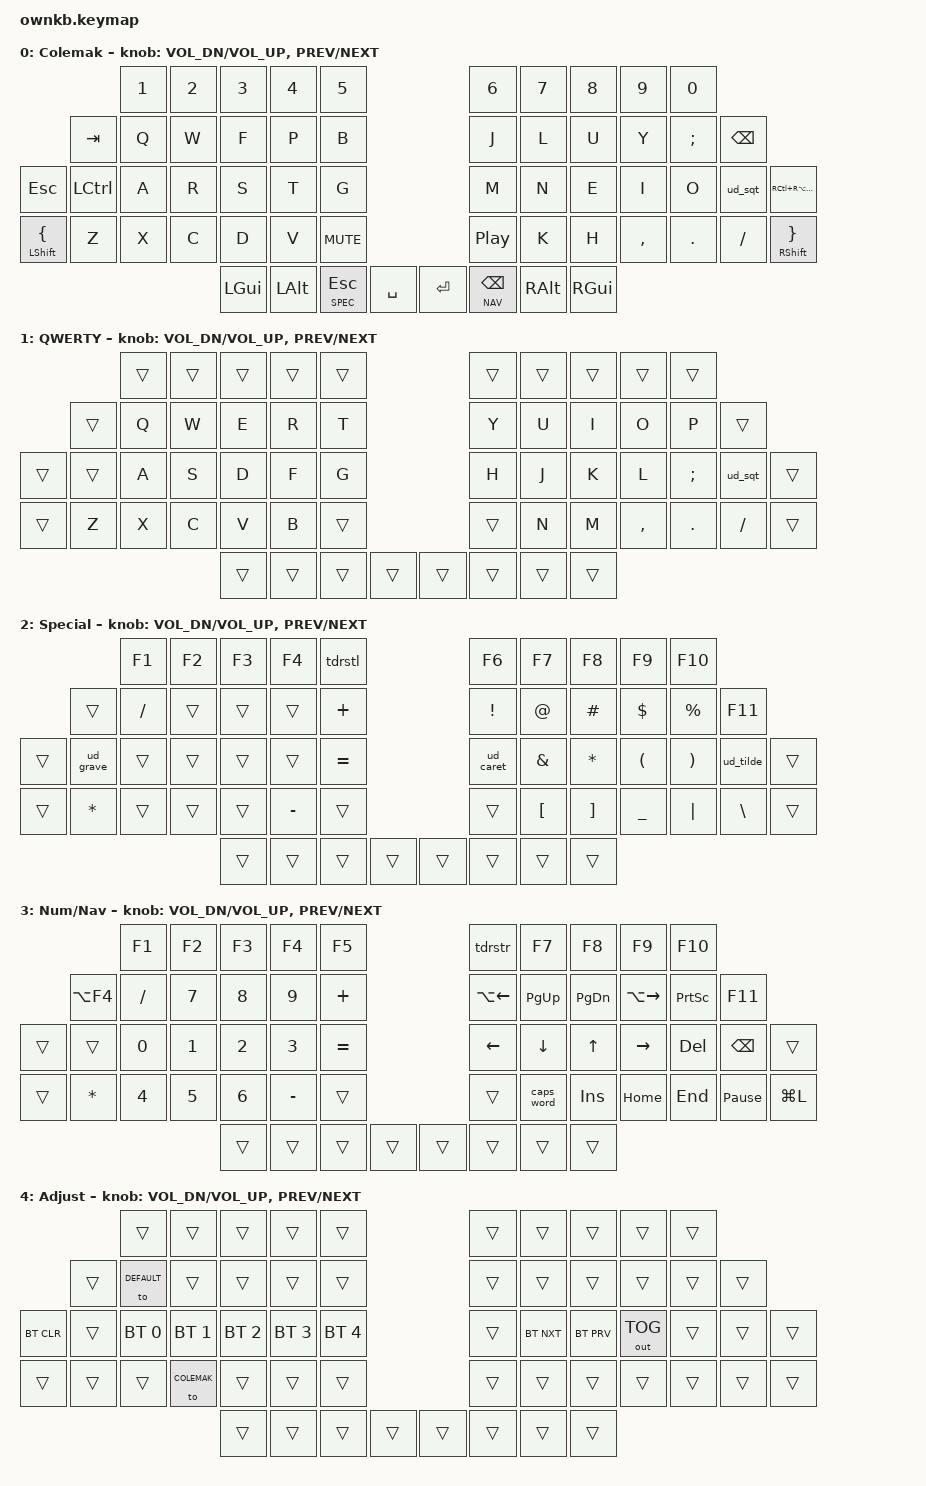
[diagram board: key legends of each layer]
#include <behaviors.dtsi>
#include <dt-bindings/zmk/keys.h>
#include <dt-bindings/zmk/bt.h>
#include <dt-bindings/zmk/outputs.h>

#define COLEMAK 0
#define DEFAULT 1
#define SPEC   2
#define NAV   3
#define ADJUST 4

// tapdance timing
#define TAPTERM 100

// additional caps word keys
&caps_word {
    continue-list = <UNDERSCORE MINUS LS(MINUS) UP DOWN LEFT RIGHT BSPC DEL>;
};

// faster layertap
&lt {
    quick-tap-ms = <0>;
    tapping-term-ms = <150>; 
};

// faster modtap
&mt {
    tapping-term-ms = <200>;
}; 

/ {

    // adjust layer when both navigation keys are pressed 
    conditional_layers {
        compatible = "zmk,conditional-layers";
        tri_layer {
            if-layers = <SPEC NAV>;
            then-layer = <ADJUST>; 
        };
    };
    behaviors {
        // F5 / double tap reset 
        tdrstl: tdrstl {
            compatible = "zmk,behavior-tap-dance";
            label = "tdrstl";
            #binding-cells = <0>;
            tapping-term-ms = <TAPTERM>;
            bindings = <&kp F5>, <&sys_reset>;
        };

        // F6 / double tap reset
        tdrstr: tdrstr {
            compatible = "zmk,behavior-tap-dance";
            label = "tdrstr";
            #binding-cells = <0>;
            tapping-term-ms = <TAPTERM>;
            bindings = <&kp F6>, <&sys_reset>;
        };
    };

    macros {
        // undead `
        ud_grave: ud_grave {
            label = "UNDEAD_GRAVE";
            compatible = "zmk,behavior-macro";
            #binding-cells = <0>;
            wait-ms = <10>;
            tap-ms = <10>;
            bindings = <&kp GRAVE &kp SPACE>;
        };

        // undead ~
        ud_tilde: ud_tilde {
            label = "UNDEAD_TILDE";
            compatible = "zmk,behavior-macro";
            #binding-cells = <0>;
            wait-ms = <10>;
            tap-ms = <10>;
            bindings = <&kp TILDE &kp SPACE>;
        };

        // undead ^
        ud_caret: ud_caret {
            label = "UNDEAD_CARET";
            compatible = "zmk,behavior-macro";
            #binding-cells = <0>;
            wait-ms = <10>;
            tap-ms = <10>;
            bindings = <&kp CARET &kp SPACE>;
        };

        // undead "
        ud_sqt: ud_sqt {
            label = "UNDEAD_SINGLE_QUOTE";
            compatible = "zmk,behavior-macro";
            #binding-cells = <0>;
            wait-ms = <10>;
            tap-ms = <10>;
            bindings = <&kp SQT &kp SPACE>;
        };
    };

    keymap {
        compatible = "zmk,keymap";

        colemak_layer {
            label = "Colemak";

bindings = <
//                     ___________________________________________________                   ___________________________________________________
//                     | 1       | 2       | 3       | 4       | 5       |                   | 6       | 7       | 8       | 9       | 0       |
                         &kp N1    &kp N2    &kp N3    &kp N4    &kp N5                        &kp N6    &kp N7    &kp N8    &kp N9    &kp N0
//           _____________________________________________________________                   _____________________________________________________________
//           | TAB     | Q       | W       | F       | P       | B       |                   | J       | L       | U       | Y       | ;       | TAB     |
               &kp TAB   &kp Q     &kp W     &kp F     &kp P     &kp B                         &kp J     &kp L     &kp U     &kp Y     &kp SEMI  &kp BSPC
// _______________________________________________________________________                   _______________________________________________________________________
// | ESC     | CTRL    | A       | R       | S       | T       | G       |                   | M       | N       | E       | I       | O       | '       | F13     |
     &kp ESC   &kp LCTRL &kp A     &kp R     &kp S     &kp T     &kp G                         &kp M     &kp N     &kp E     &kp I     &kp O     &ud_sqt   &kp RC(RA(F13))
//           _____________________________________________________________________________________________________________________________________________
//           | SHIFT   | Z       | X       | C       | D       | V       | MUTE    |PLAY/PAUS| K       | H       | ,       | .       | /       | SHIFT   |
          &mt LSHFT LBRC &kp Z     &kp X     &kp C     &kp D     &kp V  &kp C_MUTE &kp C_PP    &kp K     &kp H     &kp COMMA &kp DOT    &kp SLASH &mt RSHFT RBRC
//                                         _________________________________________________________________________________
//                                         | WIN     | ALT     | X/FSC   | SPACE   | ENTER   | x/BSPC  | ALT     | WIN     |
                                          &kp LGUI  &kp LALT  &lt SPEC ESC &kp SPACE &kp ENTER &lt NAV BSPC &kp RALT &kp RGUI
            >;

            sensor-bindings = <&inc_dec_kp C_VOL_DN C_VOL_UP &inc_dec_kp C_PREV C_NEXT>;
        };

        qwerty_layer {
            label = "QWERTY";

bindings = <
//                     ___________________________________________________                   ___________________________________________________
//                     |         |         |         |         |         |                   |         |         |         |         |         |
                         &trans    &trans    &trans    &trans    &trans                        &trans    &trans    &trans    &trans    &trans
//           _____________________________________________________________                   _____________________________________________________________
//           |         | Q       | W       | E       | R       | T       |                   | Y       | U       | I       | O       | P       |          |
               &trans    &kp Q     &kp W     &kp E     &kp R     &kp T                         &kp Y     &kp U     &kp I     &kp O     &kp P     &trans
// _______________________________________________________________________                   _______________________________________________________________________
// |         |         | A       | S       | D       | F       | G       |                   | H       | J       | K       | L       | ;       | '       |         |
     &trans    &trans    &kp A     &kp S     &kp D     &kp F     &kp G                         &kp H     &kp J     &kp K     &kp L     &kp SEMI  &ud_sqt   &trans
//           _____________________________________________________________________________________________________________________________________________
//           |         | Z       | X       | C       | V       | B       |         |         | N       | M       | ,       | .       | /       |         |
               &trans    &kp Z     &kp X     &kp C     &kp V     &kp B     &trans    &trans    &kp N     &kp M     &kp COMMA &kp DOT    &kp SLASH &trans
//                                         _________________________________________________________________________________
//                                         |         |         |         |         |         |         |         |         |
                                             &trans    &trans    &trans    &trans    &trans    &trans    &trans    &trans
            >;

            sensor-bindings = <&inc_dec_kp C_VOL_DN C_VOL_UP &inc_dec_kp C_PREV C_NEXT>;
        };

        special_layer {
            label = "Special";

bindings = <
//                     ___________________________________________________                   ___________________________________________________
//                     | T1      | F2      | F3      | F4      | F5/rst  |                   | F6      | F7      | F8      | F9      | F10     |
                         &kp F1    &kp F2    &kp F3    &kp F4    &tdrstl                       &kp F6    &kp F7    &kp F8    &kp F9    &kp F10
//           _____________________________________________________________                   _____________________________________________________________
//           |         | /       |         |         |         | +       |                   | !       | @       | #       | $       | %       | F11     |
               &trans    &kp SLASH &trans    &trans    &trans    &kp PLUS                      &kp EXCL  &kp AT    &kp HASH  &kp DOLLAR &kp PRCNT &kp F11
// _______________________________________________________________________                   _______________________________________________________________________
// |         | `      |         |          |         |         | =       |                   | ^       | &       | *       | (       | )       | ~       |         |
     &trans    &ud_grave &trans   &trans     &trans    &trans    &kp EQUAL                     &ud_caret &kp AMPS  &kp STAR  &kp LPAR  &kp RPAR  &ud_tilde &trans
//           _____________________________________________________________________________________________________________________________________________
//           |        | *       |          |         |         | -       |         |         | [       | ]       | _       | |       | \       |          |
               &trans   &kp STAR  &trans     &trans    &trans    &kp MINUS  &trans   &trans    &kp LBKT  &kp RBKT  &kp UNDER &kp PIPE  &kp BSLH  &trans
//                                         _________________________________________________________________________________
//                                         |         |         |         |         |         |         |         |         |
                                             &trans    &trans    &trans    &trans    &trans    &trans    &trans    &trans
            >;

            sensor-bindings = <&inc_dec_kp C_VOL_DN C_VOL_UP &inc_dec_kp C_PREV C_NEXT>;
        };

        nav_layer {
            label = "Num/Nav";

bindings = <
//                     ___________________________________________________                   ___________________________________________________
//                     | F1      | F2      | F3      | F4      | F5      |                   | F6/rst  | F7      | F8      | F9      | F10     |
                         &kp F1    &kp F2    &kp F3    &kp F4    &kp F5                        &tdrstr   &kp F7    &kp F8    &kp F9    &kp F10
//           _____________________________________________________________                   _____________________________________________________________
//           | ALT+F4  | /       | 7       | 8       | 9       | +       |                   | ALT+LEFT| PAGE UP | PAGE DN |ALT+RIGHT| PRINT   | F11     |
               &kp LA(F4) &kp SLASH &kp N7   &kp N8    &kp N9    &kp PLUS                   &kp LA(LEFT) &kp PG_UP &kp PG_DN &kp LA(RIGHT) &kp PSCRN &kp F11
// _______________________________________________________________________                   _______________________________________________________________________
// |         |        | 0        | 1       | 2       | 3       | =       |                   | LEFT <  | DOWN v  | UP ^    | RIGHT > | DEL     |BACKSPACE|         |
     &trans    &trans   &kp N0    &kp N1     &kp N2    &kp N3    &kp EQUAL                     &kp LEFT  &kp DOWN  &kp UP    &kp RIGHT &kp DEL   &kp BSPC  &trans
//           _____________________________________________________________________________________________________________________________________________
//           |        | *        | 4        | 5       | 6       | -       |         |         | CAPS    | INS     | HOME    | END     | PAUSE   | WIN+L    |
               &trans   &kp STAR  &kp N4     &kp N5    &kp N6    &kp MINUS &trans    &trans    &caps_word &kp INSERT &kp HOME &kp END  &kp PAUSE_BREAK &kp LG(L)
//                                         _________________________________________________________________________________
//                                         |         |         |         |         |         |         |         |         |
                                             &trans    &trans    &trans    &trans    &trans    &trans    &trans    &trans
            >;

            sensor-bindings = <&inc_dec_kp C_VOL_DN C_VOL_UP &inc_dec_kp C_PREV C_NEXT>;
        };

        adjust_layer {
            label = "Adjust";

bindings = <
//                     ___________________________________________________                   ___________________________________________________
//                     |         |         |         |         |         |                   |         |         |         |         |         |
                         &trans    &trans    &trans    &trans    &trans                        &trans    &trans    &trans    &trans    &trans
//           _____________________________________________________________                   _____________________________________________________________
//           |         | QWERTY  |         |         |         |         |                   |         |         |         |         |         |         |
               &trans    &to DEFAULT &trans  &trans    &trans    &trans                        &trans    &trans    &trans    &trans    &trans    &trans
// _______________________________________________________________________                   _______________________________________________________________________
// | BT CLR  |         | BT0     | BT1     | BT2     | BT3     | BT4     |                   |         | BT NEXT | BT PREV |BT TOGGLE|         |         |         |
     &bt BT_CLR &trans &bt BT_SEL 0 &bt BT_SEL 1 &bt BT_SEL 2 &bt BT_SEL 3 &bt BT_SEL 4        &trans  &bt BT_NXT &bt BT_PRV &out OUT_TOG &trans &trans    &trans
//           _____________________________________________________________________________________________________________________________________________
//           |        |         |          | Colemak |         |         |         |         |         |         |         |         |         |          |
               &trans   &trans    &trans     &to COLEMAK &trans  &trans    &trans    &trans    &trans    &trans    &trans    &trans    &trans    &trans
//                                         _________________________________________________________________________________
//                                         |         |         |         |         |         |         |         |         |
                                             &trans    &trans    &trans    &trans    &trans    &trans    &trans    &trans
            >;

            sensor-bindings = <&inc_dec_kp C_VOL_DN C_VOL_UP &inc_dec_kp C_PREV C_NEXT>;
        };
        
    };
};
